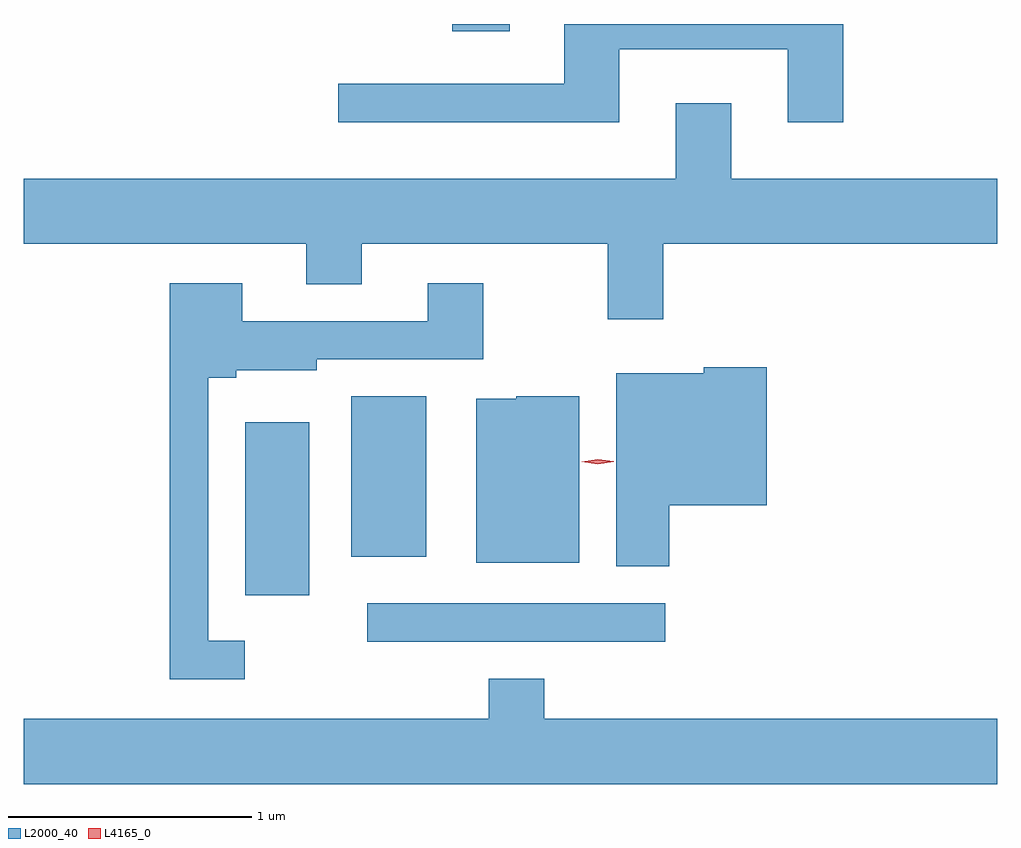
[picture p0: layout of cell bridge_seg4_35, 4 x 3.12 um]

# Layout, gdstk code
import gdstk
lib = gdstk.Library(unit=1e-6, precision=1e-09)
def R(c, l, rs):  # rectangles x0, y0, x1, y1
    for r in rs: c.add(gdstk.rectangle(r[:2], r[2:], *l))
def P(c, l, *ps):  # polygons
    for p in ps: c.add(gdstk.Polygon(p, *l))
L2000_40 = (2000, 40)
L4165_0 = (4165, 0)

bridge_seg4_35 = lib.new_cell('bridge_seg4_35')
R(bridge_seg4_35, L2000_40, [(1259.503,1290.881,1260.728,1291.039), (1259.001,1291.071,1259.264,1291.784), (1259.436,1291.231,1259.744,1291.889), (1259.851,1293.391,1260.088,1293.42)])
P(bridge_seg4_35, L2000_40, [(1260.539,1293.316),(1261.231,1293.316),(1261.231,1293.016),(1261.459,1293.016),(1261.459,1293.42),(1260.311,1293.42),(1260.311,1293.174),(1259.383,1293.174),(1259.383,1293.016),(1260.539,1293.016)],
  [(1260.719,1292.516),(1262.091,1292.516),(1262.091,1292.784),(1260.999,1292.784),(1260.999,1293.094),(1260.771,1293.094),(1260.771,1292.784),(1258.091,1292.784),(1258.091,1292.516),(1259.251,1292.516),(1259.251,1292.351),(1259.479,1292.351),(1259.479,1292.516),(1260.491,1292.516),(1260.491,1292.206),(1260.719,1292.206)],
  [(1258.998,1290.884),(1258.849,1290.884),(1258.849,1291.966),(1258.964,1291.966),(1258.964,1291.996),(1259.294,1291.996),(1259.294,1292.041),(1259.979,1292.041),(1259.979,1292.354),(1259.751,1292.354),(1259.751,1292.199),(1258.989,1292.199),(1258.989,1292.354),(1258.691,1292.354),(1258.691,1290.726),(1258.998,1290.726)],
  [(1260.744,1291.441),(1261.144,1291.441),(1261.144,1292.009),(1260.886,1292.009),(1260.886,1291.984),(1260.526,1291.984),(1260.526,1291.191),(1260.744,1291.191)],
  [(1260.374,1291.889),(1260.115,1291.889),(1260.115,1291.879),(1259.951,1291.879),(1259.951,1291.206),(1260.374,1291.206)],
  [(1262.091,1290.564),(1260.229,1290.564),(1260.229,1290.729),(1260.001,1290.729),(1260.001,1290.564),(1258.091,1290.564),(1258.091,1290.296),(1262.091,1290.296)])
P(bridge_seg4_35, L4165_0, [(1260.45,1291.611),(1260.384,1291.62),(1260.384,1291.62),(1260.384,1291.621),(1260.45,1291.631),(1260.516,1291.622),(1260.516,1291.622),(1260.516,1291.621)])

lib.write_gds('bridge_seg4_35.gds')
